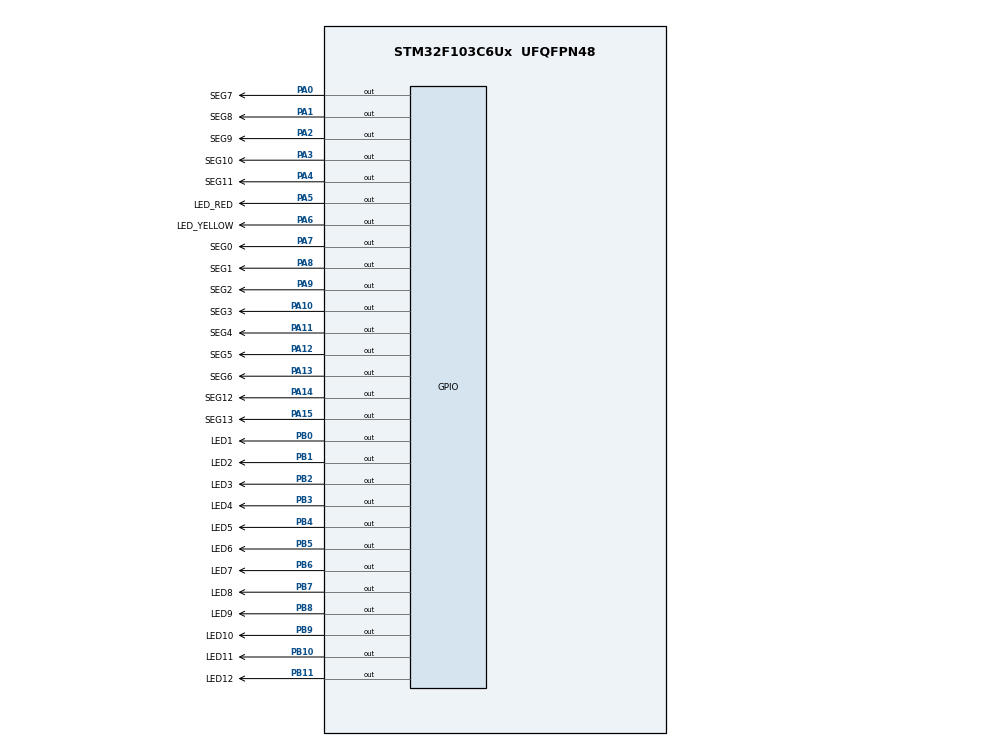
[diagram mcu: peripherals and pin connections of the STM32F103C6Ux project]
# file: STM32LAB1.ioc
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Mcu.Family=STM32F1
Mcu.Name=STM32F103C6Ux
Mcu.Package=UFQFPN48
NVIC.PriorityGroup=NVIC_PRIORITYGROUP_4
PA0-WKUP.GPIO_Label=SEG7
PA0-WKUP.Signal=GPIO_Output
PA1.GPIO_Label=SEG8
PA1.Signal=GPIO_Output
PA10.GPIO_Label=SEG3
PA10.Signal=GPIO_Output
PA11.GPIO_Label=SEG4
PA11.Signal=GPIO_Output
PA12.GPIO_Label=SEG5
PA12.Signal=GPIO_Output
PA13.GPIO_Label=SEG6
PA13.Signal=GPIO_Output
PA14.GPIO_Label=SEG12
PA14.Signal=GPIO_Output
PA15.GPIO_Label=SEG13
PA15.Signal=GPIO_Output
PA2.GPIO_Label=SEG9
PA2.Signal=GPIO_Output
PA3.GPIO_Label=SEG10
PA3.Signal=GPIO_Output
PA4.GPIO_Label=SEG11
PA4.Signal=GPIO_Output
PA5.GPIO_Label=LED_RED
PA5.Signal=GPIO_Output
PA6.GPIO_Label=LED_YELLOW
PA6.Signal=GPIO_Output
PA7.GPIO_Label=SEG0
PA7.Signal=GPIO_Output
PA8.GPIO_Label=SEG1
PA8.Signal=GPIO_Output
PA9.GPIO_Label=SEG2
PA9.Signal=GPIO_Output
PB0.GPIO_Label=LED1
PB0.Signal=GPIO_Output
PB1.GPIO_Label=LED2
PB1.Signal=GPIO_Output
PB10.GPIO_Label=LED11
PB10.Signal=GPIO_Output
PB11.GPIO_Label=LED12
PB11.Signal=GPIO_Output
PB2.GPIO_Label=LED3
PB2.Signal=GPIO_Output
PB3.GPIO_Label=LED4
PB3.Signal=GPIO_Output
PB4.GPIO_Label=LED5
PB4.Signal=GPIO_Output
PB5.GPIO_Label=LED6
PB5.Signal=GPIO_Output
PB6.GPIO_Label=LED7
PB6.Signal=GPIO_Output
PB7.GPIO_Label=LED8
PB7.Signal=GPIO_Output
PB8.GPIO_Label=LED9
PB8.Signal=GPIO_Output
PB9.GPIO_Label=LED10
PB9.Signal=GPIO_Output
ProjectManager.HeapSize=0x200
ProjectManager.StackSize=0x400
ProjectManager.TargetToolchain=STM32CubeIDE
RCC.APB1Freq_Value=8000000
RCC.APB2Freq_Value=8000000
VP_SYS_VS_ND.Mode=No_Debug
board=custom

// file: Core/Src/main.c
/* USER CODE BEGIN Header */
/**
  ******************************************************************************
  * @file           : main.c
  * @brief          : Main program body
  ******************************************************************************
  * @attention
  *
  * <h2><center>&copy; Copyright (c) 2024 STMicroelectronics.
  * All rights reserved.</center></h2>
  *
  * This software component is licensed by ST under BSD 3-Clause license,
  * the "License"; You may not use this file except in compliance with the
  * License. You may obtain a copy of the License at:
  *                        opensource.org/licenses/BSD-3-Clause
  *
  ******************************************************************************
  */
/* USER CODE END Header */
#include "main.h"

void SystemClock_Config(void);
static void MX_GPIO_Init(void);

/* USER CODE BEGIN 0 */
void clearAllClock()
{
	HAL_GPIO_WritePin(GPIOB, LED1_Pin | LED2_Pin | LED3_Pin | LED4_Pin | LED5_Pin | LED6_Pin | LED7_Pin | LED8_Pin | LED9_Pin | LED10_Pin | LED11_Pin | LED12_Pin, 1);
}
void setNumberOnClock(int num)
{
	unsigned int ledPin[12] = {LED2_Pin, LED3_Pin, LED10_Pin, LED11_Pin, LED12_Pin, LED4_Pin, LED5_Pin, LED6_Pin, LED7_Pin, LED8_Pin, LED9_Pin, LED1_Pin};
	HAL_GPIO_WritePin(GPIOB, ledPin[num], 0);
}
void clearNumberOnClock(int num)
{
	unsigned int ledPin[12] = {LED2_Pin, LED3_Pin, LED10_Pin, LED11_Pin, LED12_Pin, LED4_Pin, LED5_Pin, LED6_Pin, LED7_Pin, LED8_Pin, LED9_Pin, LED1_Pin};
	HAL_GPIO_WritePin(GPIOB, ledPin[num], 1);
}
void setTime(int hour, int minute, int second)
{
	setNumberOnClock(hour);
	setNumberOnClock(minute / 5);
	setNumberOnClock(second / 5);
}
/* USER CODE END 0 */

int main(void)
{

  /* MCU Configuration--------------------------------------------------------*/

  /* Reset of all peripherals, Initializes the Flash interface and the Systick. */
  HAL_Init();

  /* Configure the system clock */
  SystemClock_Config();

  /* Initialize all configured peripherals */
  MX_GPIO_Init();

  /* Infinite loop */
  /* USER CODE BEGIN WHILE */
  int hour = 0;
  int minute = 0;
  int second = 0;

  while (1)
  {
	  clearAllClock();
	  if (second == 60)
	  {
		  minute++;
		  second = 0;
	  }
	  if (minute == 60)
	  {
		  hour++;
		  minute = 0;
	  }
	  if (hour == 12)
	  {
		  hour = 0;
	  }
	  setTime(hour, minute, second);

	  second++;
	  HAL_Delay(1000);

    /* USER CODE END WHILE */

  }
}

void SystemClock_Config(void)
{
  RCC_OscInitTypeDef RCC_OscInitStruct = {0};
  RCC_ClkInitTypeDef RCC_ClkInitStruct = {0};

  /** Initializes the RCC Oscillators according to the specified parameters
  * in the RCC_OscInitTypeDef structure.
  */
  RCC_OscInitStruct.OscillatorType = RCC_OSCILLATORTYPE_HSI;
  RCC_OscInitStruct.HSIState = RCC_HSI_ON;
  RCC_OscInitStruct.HSICalibrationValue = RCC_HSICALIBRATION_DEFAULT;
  RCC_OscInitStruct.PLL.PLLState = RCC_PLL_NONE;
  if (HAL_RCC_OscConfig(&RCC_OscInitStruct) != HAL_OK)
  {
    Error_Handler();
  }
  /** Initializes the CPU, AHB and APB buses clocks
  */
  RCC_ClkInitStruct.ClockType = RCC_CLOCKTYPE_HCLK|RCC_CLOCKTYPE_SYSCLK
                              |RCC_CLOCKTYPE_PCLK1|RCC_CLOCKTYPE_PCLK2;
  RCC_ClkInitStruct.SYSCLKSource = RCC_SYSCLKSOURCE_HSI;
  RCC_ClkInitStruct.AHBCLKDivider = RCC_SYSCLK_DIV1;
  RCC_ClkInitStruct.APB1CLKDivider = RCC_HCLK_DIV1;
  RCC_ClkInitStruct.APB2CLKDivider = RCC_HCLK_DIV1;

  if (HAL_RCC_ClockConfig(&RCC_ClkInitStruct, FLASH_LATENCY_0) != HAL_OK)
  {
    Error_Handler();
  }
}

static void MX_GPIO_Init(void)
{
  GPIO_InitTypeDef GPIO_InitStruct = {0};

  /* GPIO Ports Clock Enable */
  __HAL_RCC_GPIOA_CLK_ENABLE();
  __HAL_RCC_GPIOB_CLK_ENABLE();

  /*Configure GPIO pin Output Level */
  HAL_GPIO_WritePin(GPIOA, LED_RED_Pin|LED_YELLOW_Pin|SEG0_Pin|SEG1_Pin
                          |SEG2_Pin|SEG3_Pin|SEG4_Pin|SEG5_Pin
                          |SEG6_Pin, GPIO_PIN_RESET);

  /*Configure GPIO pin Output Level */
  HAL_GPIO_WritePin(GPIOB, LED1_Pin|LED2_Pin|LED3_Pin|LED11_Pin
                          |LED12_Pin|LED4_Pin|LED5_Pin|LED6_Pin
                          |LED7_Pin|LED8_Pin|LED9_Pin|LED10_Pin, GPIO_PIN_RESET);

  /*Configure GPIO pins : LED_RED_Pin LED_YELLOW_Pin SEG0_Pin SEG1_Pin
                           SEG2_Pin SEG3_Pin SEG4_Pin SEG5_Pin
                           SEG6_Pin */
  GPIO_InitStruct.Pin = LED_RED_Pin|LED_YELLOW_Pin|SEG0_Pin|SEG1_Pin
                          |SEG2_Pin|SEG3_Pin|SEG4_Pin|SEG5_Pin
                          |SEG6_Pin;
  GPIO_InitStruct.Mode = GPIO_MODE_OUTPUT_PP;
  GPIO_InitStruct.Pull = GPIO_NOPULL;
  GPIO_InitStruct.Speed = GPIO_SPEED_FREQ_LOW;
  HAL_GPIO_Init(GPIOA, &GPIO_InitStruct);

  /*Configure GPIO pins : LED1_Pin LED2_Pin LED3_Pin LED11_Pin
                           LED12_Pin LED4_Pin LED5_Pin LED6_Pin
                           LED7_Pin LED8_Pin LED9_Pin LED10_Pin */
  GPIO_InitStruct.Pin = LED1_Pin|LED2_Pin|LED3_Pin|LED11_Pin
                          |LED12_Pin|LED4_Pin|LED5_Pin|LED6_Pin
                          |LED7_Pin|LED8_Pin|LED9_Pin|LED10_Pin;
  GPIO_InitStruct.Mode = GPIO_MODE_OUTPUT_PP;
  GPIO_InitStruct.Pull = GPIO_NOPULL;
  GPIO_InitStruct.Speed = GPIO_SPEED_FREQ_LOW;
  HAL_GPIO_Init(GPIOB, &GPIO_InitStruct);

}

void Error_Handler(void)
{
  __disable_irq();
  while (1)
  {
  }
}

/************************ (C) COPYRIGHT STMicroelectronics *****END OF FILE****/
